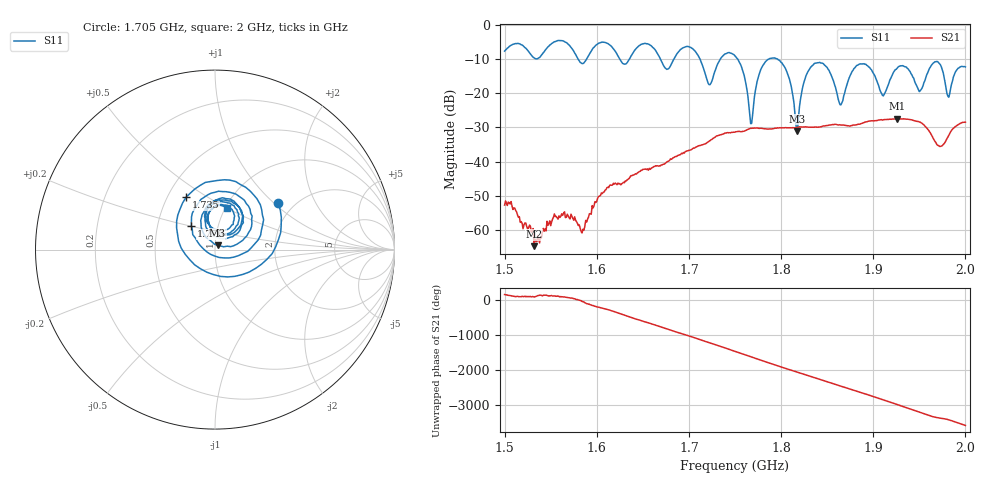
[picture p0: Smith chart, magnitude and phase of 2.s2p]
! NanoVNA-App by SYSJOINT et al v1.1.209 (+OD18)
! Date: 2026-01-21 14:52:31
! Start: 1,5GHz Stop: 2GHz Points: 501
! S-Parameter data: F S11 S21 S12 S22
# Hz S RI R 50
!  Frequency  S11_Real  S11_Imag  S21_Real  S21_Imag  S12_Real  S12_Imag  S22_Real  S22_Imag
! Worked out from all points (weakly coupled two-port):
!   501 points, 1.5 GHz to 2 GHz, reference 50 ohm
!   highest |S21| = -27.47 dB at 1.926 GHz (marker M1); lowest = -64.8 dB at 1.532 GHz (marker M2)
!   lowest |S11| = -31.0 dB at 1.817 GHz (marker M3), VSWR 1.06, Z = 51.4 + j2.5 ohm
!   |S11| at or under -10 dB: 1.712 GHz to 1.734 GHz (21.85 MHz wide, 1.27 % of centre); 1.753 GHz to 1.786 GHz (33.13 MHz wide, 1.87 % of centre); 1.796 GHz to end of sweep (the widest 3 of 6)
!   S12 and S22 are empty: the file has one direction only
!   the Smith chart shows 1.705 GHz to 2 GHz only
!   S11 on the Smith chart (normalised r, x): 1.705 GHz: 1.65, +1.07; 1.735 GHz: 0.62, +0.41; 1.776 GHz: 0.74, +0.20; 2 GHz: 1.02, +0.51
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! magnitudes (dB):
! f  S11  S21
! 1.5 GHz  -7.6  -52.8
! 1.532 GHz  -9.6  -64.8
! 1.584 GHz  -11.3  -61.0
! 1.613 GHz  -5.6  -47.6
! 1.667 GHz  -8.9  -41.4
! 1.705 GHz  -7.2  -36.0
! 1.722 GHz  -17.5  -34.0
! 1.735 GHz  -9.5  -32.1
! 1.75 GHz  -9.0  -31.4
! 1.767 GHz  -28.9  -30.2
! 1.776 GHz  -14.6  -30.3
! 1.801 GHz  -11.1  -30.1
! 1.817 GHz  -31.0  -30.0
! 1.834 GHz  -11.8  -30.0
! 1.865 GHz  -23.3  -29.3
! 1.884 GHz  -11.6  -29.1
! 1.917 GHz  -17.0  -27.6
! 1.926 GHz  -12.6  -27.5
! 1.951 GHz  -19.2  -28.5
! 1.97 GHz  -10.7  -35.2
! 1.982 GHz  -21.1  -32.3
! 2 GHz  -12.3  -28.4
